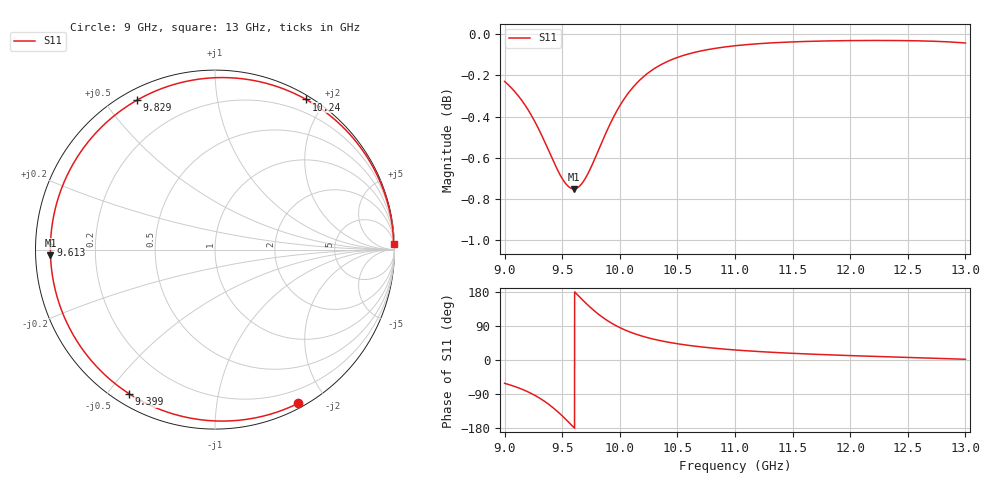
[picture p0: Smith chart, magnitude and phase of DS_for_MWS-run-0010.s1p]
! TOUCHSTONE file generated by CST DESIGN STUDIO
! Date and time: Wed Feb  5 13:30:17 2025
! Project name: C:\Work\MatlabApps\UnitCellOptimizationMatlab\CST\unitcell.cst
! Tree item: Tasks\Sweep1\SPara1\S-Parameters
! Header version: 2024
! Port assignment regex: !\s*Touchstone port\s*([0-9]+)\s*=\s*(CST MWS port|CST DES external port|CST DES block port)\s*(.+)\s* \(\"(.*)\"\)(\s*mode\s*([0-9]+))?.*
! Touchstone port assignment:
! Touchstone port 1 = CST DES external port 1 ("")
# GHz S MA R 50
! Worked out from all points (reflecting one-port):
!   4001 points, 9 GHz to 13 GHz, reference 50 ohm
!   lowest |S11| = -0.8 dB at 9.601 GHz (marker M1), VSWR 23.14, Z = 2.16 - j0.859 ohm
!   phase of S11 starts at -62 deg and turns -297 deg over the sweep
!   S11 on the Smith chart (normalised r, x): 9 GHz: 0.05, -1.68; 9.399 GHz: 0.04, -0.57; 9.613 GHz: 0.04, +0.02; 9.829 GHz: 0.04, +0.61; 10.24 GHz: 0.05, +1.78; 13 GHz: 8, +58
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9  0.974 -61.5
9.053  0.9708 -66.4
9.124  0.9657 -73.9
9.186  0.9603 -81.7
9.246  0.9542 -90.6
9.328  0.9443 -105.3
9.399  0.9347 -120.7
9.449  0.9282 -133.3
9.5  0.9224 -147.4
9.552  0.9184 -162.8
9.601  0.9171 -178.0
9.613  0.9172 178.2
9.668  0.9197 161.2
9.729  0.9256 143.2
9.779  0.9322 129.7
9.829  0.9392 117.5
9.907  0.9499 101.1
10  0.9608 85.5
10.116  0.9709 70.7
10.244  0.9785 58.7
10.363  0.9833 50.3
10.5  0.9871 42.9
10.72  0.9909 34.1
11  0.9936 26.5
11.5  0.9958 17.6
12  0.9965 11.6
12.5  0.9964 6.8
13  0.9951 1.9
